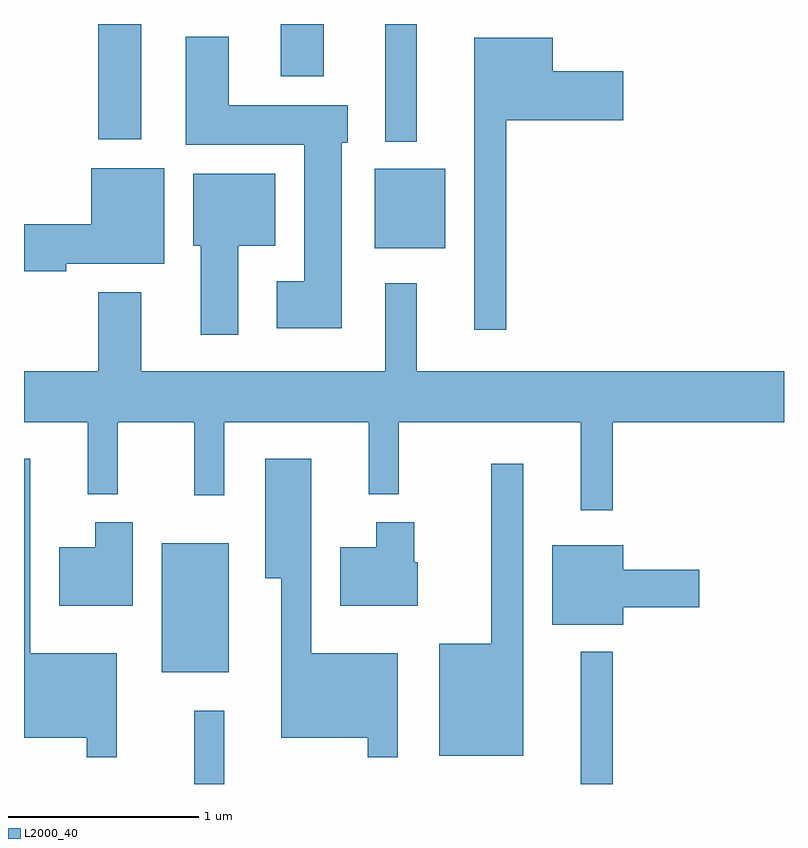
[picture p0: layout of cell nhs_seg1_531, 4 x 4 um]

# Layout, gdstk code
import gdstk
lib = gdstk.Library(unit=1e-6, precision=1e-09)
def R(c, l, rs):  # rectangles x0, y0, x1, y1
    for r in rs: c.add(gdstk.rectangle(r[:2], r[2:], *l))
def P(c, l, *ps):  # polygons
    for p in ps: c.add(gdstk.Polygon(p, *l))
L2000_40 = (2000, 40)

nhs_seg1_531 = lib.new_cell('nhs_seg1_531')
R(nhs_seg1_531, L2000_40, [(202.506,857.712,202.664,858.098), (204.541,857.712,204.709,858.408), (202.336,858.301,202.689,858.979), (203.456,860.531,203.829,860.949), (203.511,861.093,203.679,861.712), (202.001,861.106,202.229,861.712), (202.961,861.436,203.189,861.712)])
P(nhs_seg1_531, L2000_40, [(203.284,861.086),(203.314,861.086),(203.314,861.284),(202.689,861.284),(202.689,861.644),(202.461,861.644),(202.461,861.076),(203.086,861.076),(203.086,860.359),(202.941,860.359),(202.941,860.111),(203.284,860.111)],
  [(204.149,861.206),(204.764,861.206),(204.764,861.464),(204.394,861.464),(204.394,861.639),(203.981,861.639),(203.981,860.103),(204.149,860.103)],
  [(201.834,860.451),(202.349,860.451),(202.349,860.954),(201.966,860.954),(201.966,860.659),(201.611,860.659),(201.611,860.411),(201.834,860.411)],
  [(202.739,860.546),(202.934,860.546),(202.934,860.924),(202.501,860.924),(202.501,860.546),(202.541,860.546),(202.541,860.076),(202.739,860.076)],
  [(204.709,859.616),(205.611,859.616),(205.611,859.884),(203.679,859.884),(203.679,860.348),(203.511,860.348),(203.511,859.884),(202.229,859.884),(202.229,860.299),(202.001,860.299),(202.001,859.884),(201.611,859.884),(201.611,859.616),(201.946,859.616),(201.946,859.238),(202.104,859.238),(202.104,859.616),(202.506,859.616),(202.506,859.233),(202.664,859.233),(202.664,859.616),(203.426,859.616),(203.426,859.238),(203.584,859.238),(203.584,859.616),(204.541,859.616),(204.541,859.153),(204.709,859.153)],
  [(203.579,858.399),(203.124,858.399),(203.124,859.424),(202.881,859.424),(202.881,858.796),(202.966,858.796),(202.966,857.956),(203.421,857.956),(203.421,857.853),(203.579,857.853)],
  [(202.099,858.399),(201.644,858.399),(201.644,859.423),(201.611,859.423),(201.611,857.956),(201.941,857.956),(201.941,857.853),(202.099,857.853)],
  [(204.239,859.398),(204.071,859.398),(204.071,858.449),(203.796,858.449),(203.796,857.861),(204.239,857.861)],
  [(202.184,859.089),(201.986,859.089),(201.986,858.959),(201.796,858.959),(201.796,858.651),(202.184,858.651)],
  [(203.684,858.879),(203.664,858.879),(203.664,859.089),(203.466,859.089),(203.466,858.959),(203.276,858.959),(203.276,858.651),(203.684,858.651)],
  [(204.764,858.641),(205.164,858.641),(205.164,858.839),(204.764,858.839),(204.764,858.969),(204.391,858.969),(204.391,858.551),(204.764,858.551)])

lib.write_gds('nhs_seg1_531.gds')
